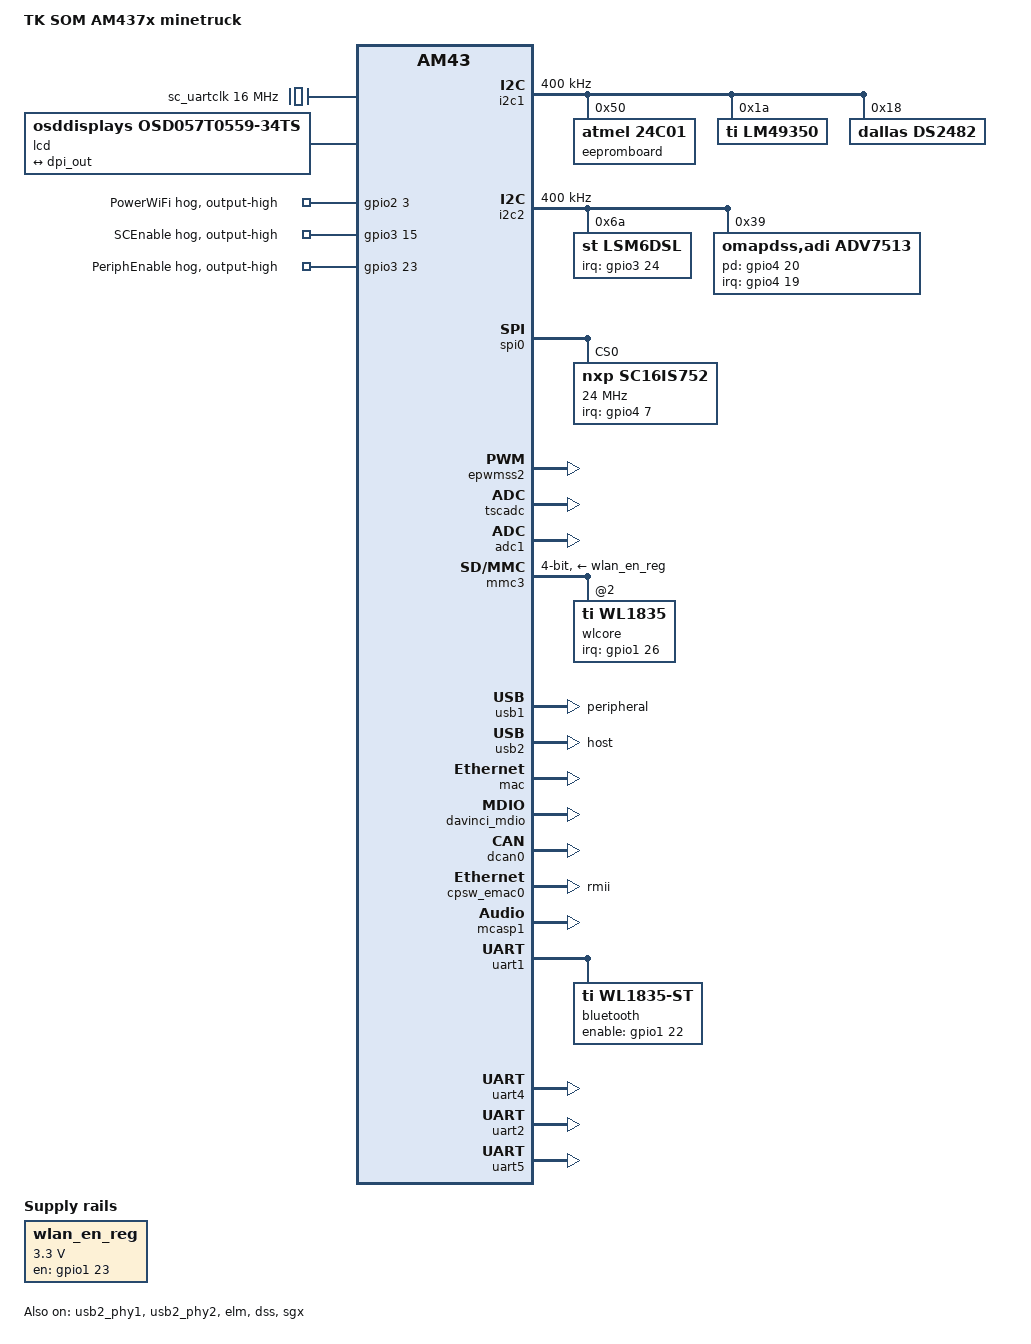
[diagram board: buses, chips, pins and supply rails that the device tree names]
/*
 * Copyright (C) 2013 Texas Instruments Incorporated - http://www.ti.com/
 *
 * This program is free software; you redistribute it and/or modify
 * it under the terms of the GNU General Public License version 2 as
 * published by the Free Software Foundation.
 */

/* AM437x GP EVM */

/dts-v1/;

#include "am4372.dtsi"
#include "tk-som-am43xx.dtsi"
#include <dt-bindings/pinctrl/am43xx.h>
#include <dt-bindings/pwm/pwm.h>
#include <dt-bindings/gpio/gpio.h>
#include <dt-bindings/input/input.h>

/ {

	model = "TK SOM AM437x minetruck";
	compatible = "technokom,minetruck","ti,am4372","ti,am43";

	aliases {
		display0 = &lcd0;
	};

	sc_uartclk: mclk_osc {
		compatible = "fixed-clock";
		#clock-cells = <0>;
		clock-frequency = <16000000>;
	};

	lcd0: display {
		compatible = "osddisplays,osd057T0559-34ts", "panel-dpi";
		label = "lcd";
		
		pinctrl-names = "default";

		panel-timing {
			clock-frequency = <51206400>;
			hactive = <1024>;
			vactive = <768>;
			hfront-porch = <24>;
			hback-porch = <24>;
			hsync-len = <136>;
			vback-porch = <3>;
			vfront-porch = <3>;
			vsync-len = <6>;
			hsync-active = <1>;
			vsync-active = <1>;
			de-active = <1>;
			pixelclk-active = <1>;
		};

		port {
			lcd_in: endpoint {
				remote-endpoint = <&dpi_out>;
			};
		};
	};

	sound0: sound@0 {
		compatible = "simple-audio-card";
		simple-audio-card,name = "AM437x-TK";
		simple-audio-card,widgets =
			"Headphone", "Headphone Jack",
			"Line", "Line In",
			"Speaker", "Speaker";
		simple-audio-card,routing =
			"Headphone Jack", "HPLOUT",
			"Headphone Jack", "HPROUT",
			"LINE1L", "Line In",
			"LINE1R", "Line In",
			"Speaker", "SPL",
			"Speaker", "SPR";
		simple-audio-card,format = "dsp_b";
		simple-audio-card,bitclock-master = <&sound0_master>;
		simple-audio-card,frame-master = <&sound0_master>;
		simple-audio-card,bitclock-inversion;

		simple-audio-card,cpu {
			sound-dai = <&mcasp1>;
			system-clock-frequency = <12000000>;
		};

		sound0_master: simple-audio-card,codec {
			sound-dai = <&lm49350>;
			system-clock-frequency = <12000000>;
		};
	};

    wlan_en_reg: fixedregulator-mmcwl {
		compatible = "regulator-fixed";
		regulator-name = "vmmcwl_fixed";
		regulator-min-microvolt = <3300000>;
		regulator-max-microvolt = <3300000>;
		startup-delay-us= <70000>;
		/* WL_EN */
		gpio = <&gpio1 23 GPIO_ACTIVE_HIGH>;
		enable-active-high;
	};
};

&am43xx_pinmux {
	pinctrl-names = "default", "sleep";
	pinctrl-0 = <&wlan_pins_default &pfo_pins_default &gpio_in_plus_pin &gpio_in_minus_pin &gpio_out_pin>;


	dcan0_default: dcan0_default_pins {
		pinctrl-single,pins = <
			AM4372_IOPAD(0x91c, PIN_OUTPUT | MUX_MODE1)		/* (C16) mii1_txd3.dcan0_tx */
			AM4372_IOPAD(0x920, PIN_INPUT_PULLUP | MUX_MODE1)	/* (C13) mii1_txd2.dcan0_rx */
		>;
	};

	dcan0_sleep: dcan0_sleep_pins {
		pinctrl-single,pins = <
			AM4372_IOPAD(0x91c, PIN_INPUT_PULLUP | MUX_MODE7)	/* (C16) mii1_txd3 */
			AM4372_IOPAD(0x920, PIN_INPUT_PULLUP | MUX_MODE7)	/* (C13) mii1_txd2 */
		>;
	};


    pfo_pins_default: pfo_pins_default {
		pinctrl-single,pins = <
            AM4372_IOPAD(0xa3c, PIN_INPUT | MUX_MODE7) /* (F24) gpio5_9.gpio5[9] pfo*/
			AM4372_IOPAD(0x89c, PIN_INPUT | MUX_MODE7) /* (C10) gpmc_be0n_cle.gpio2[5] scap_off */
		>;
	};

    rpm_pins_default: rpm_pins_default {
		pinctrl-single,pins = <
			AM4372_IOPAD(0x9d0, PIN_INPUT_PULLUP | MUX_MODE7) /* (AD24) cam1_data8.gpio4[8] */
		>;
	};

    gpio_onewire_interrupt_pin: gpio_onewire_interrupt_pin {
		pinctrl-single,pins = <    
            AM4372_IOPAD(0xA34, PIN_INPUT_PULLUP | MUX_MODE7 ) /* (K24) uart3_rtsn.gpio5[1] */
        >;
    };

    gpio_in_plus_pin: gpio_in_plus_pin {
		pinctrl-single,pins = <    
            AM4372_IOPAD(0xa74, PIN_INPUT | MUX_MODE7) /* (C24) xdma_event_intr1.gpio0[20] */
            AM4372_IOPAD(0x834, PIN_INPUT | MUX_MODE7) /* (C11) gpmc_ad13.gpio1[13] */
        >;
    };

    gpio_in_minus_pin: gpio_in_minus_pin {
		pinctrl-single,pins = <    
            AM4372_IOPAD(0x9d4, PIN_INPUT_PULLUP | MUX_MODE7) /* (AD25) cam1_hd.gpio4[9] */
			AM4372_IOPAD(0x9d8, PIN_INPUT_PULLUP | MUX_MODE7) /* (AC23) cam1_vd.gpio4[10] */
        >;
    };

    gpio_out_pin: gpio_out_pin {
		pinctrl-single,pins = <    
            AM4372_IOPAD(0x998, PIN_OUTPUT | SLEWCTRL_FAST | MUX_MODE7) /* (H23) mcasp0_axr0.gpio3[16] */
            AM4372_IOPAD(0x840, PIN_OUTPUT | SLEWCTRL_FAST | MUX_MODE7) /* (C3) gpmc_a0.gpio1[16] */
        >;
    };

	i2c1_pins_default: i2c1_pins_default {
		pinctrl-single,pins = <
			AM4372_IOPAD(0xa40, PIN_INPUT_PULLUP | SLEWCTRL_FAST | MUX_MODE1)  /* (G20) gpio5_10.I2C1_SCL */
			AM4372_IOPAD(0xa48, PIN_INPUT_PULLUP | SLEWCTRL_FAST | MUX_MODE1)  /* (E25) gpio5_12.I2C1_SDA */
		>;
	};

	i2c2_pins_default: i2c2_pins_default {
		pinctrl-single,pins = <
			AM4372_IOPAD(0x97c, PIN_INPUT_PULLUP | SLEWCTRL_FAST | MUX_MODE3)  /* (L22) uart1_rtsn.I2C2_SCL */
			AM4372_IOPAD(0x978, PIN_INPUT_PULLUP | SLEWCTRL_FAST | MUX_MODE3)  /* (K22) uart1_ctsn.I2C2_SDA */

            AM4372_IOPAD(0xa60, PIN_INPUT_PULLUP | MUX_MODE7) /* (N20) spi2_sclk.gpio3[24] interrupt lsm6d*/

            AM4372_IOPAD(0xa00, PIN_OUTPUT | MUX_MODE7) /* (AD23) cam1_data6.gpio4[20] powerdown adv7513*/
            AM4372_IOPAD(0x9fc, PIN_INPUT | MUX_MODE7) /* (AE23) cam1_data5.gpio4[19] */
		>;
	};

	mmc2_pins: pinmux_mmc2_pins {
		pinctrl-single,pins = <
			AM4372_IOPAD(0x88c, PIN_INPUT_PULLUP | MUX_MODE3 ) /* (A12) gpmc_clk.mmc2_clk */
			AM4372_IOPAD(0x888, PIN_INPUT_PULLUP | MUX_MODE3 ) /* (B12) gpmc_csn3.mmc2_cmd */
			AM4372_IOPAD(0x844, PIN_INPUT_PULLUP | MUX_MODE3 ) /* (C5) gpmc_a1.mmc2_dat0 */
			AM4372_IOPAD(0x848, PIN_INPUT_PULLUP | MUX_MODE3 ) /* (C6) gpmc_a2.mmc2_dat1 */
			AM4372_IOPAD(0x84c, PIN_INPUT_PULLUP | MUX_MODE3 ) /* (A4) gpmc_a3.mmc2_dat2 */
			AM4372_IOPAD(0x878, PIN_INPUT_PULLUP | MUX_MODE3 ) /* (A3) gpmc_be1n.mmc2_dat3 */
		>;
	};

	mmc2_sleep_pins: pinmux_mmc2_sleep_pins {
		pinctrl-single,pins = <
			AM4372_IOPAD(0x88c, PIN_INPUT_PULLDOWN | MUX_MODE7) /* (A12) gpmc_clk.mmc2_clk */
			AM4372_IOPAD(0x888, PIN_INPUT_PULLDOWN | MUX_MODE7) /* (B12) gpmc_csn3.mmc2_cmd */
			AM4372_IOPAD(0x844, PIN_INPUT_PULLDOWN | MUX_MODE7) /* (C5) gpmc_a1.mmc2_dat0 */
			AM4372_IOPAD(0x848, PIN_INPUT_PULLDOWN | MUX_MODE7) /* (C6) gpmc_a2.mmc2_dat1 */
			AM4372_IOPAD(0x84c, PIN_INPUT_PULLDOWN | MUX_MODE7) /* (A4) gpmc_a3.mmc2_dat2 */
			AM4372_IOPAD(0x878, PIN_INPUT_PULLDOWN | MUX_MODE7) /* (A3) gpmc_be1n.mmc2_dat3 */
		>;
	};


	cpsw_default: cpsw_default {
		pinctrl-single,pins = <
			AM4372_IOPAD(0x90c, PIN_INPUT_PULLUP | MUX_MODE1 ) /* (B14) mii1_crs.rmii1_crs_dv */
			AM4372_IOPAD(0x910, PIN_INPUT_PULLUP | MUX_MODE1 ) /* (B13) mii1_rx_er.rmii1_rxer */
			AM4372_IOPAD(0x914, PIN_OUTPUT_PULLDOWN | MUX_MODE1 ) /* (A13) mii1_tx_en.rmii1_txen */
			AM4372_IOPAD(0x928, PIN_OUTPUT_PULLDOWN | MUX_MODE1 ) /* (B15) mii1_txd0.rmii1_txd0 */
			AM4372_IOPAD(0x924, PIN_OUTPUT_PULLDOWN | MUX_MODE1 ) /* (A14) mii1_txd1.rmii1_txd1 */
			AM4372_IOPAD(0x940, PIN_INPUT | MUX_MODE1 ) /* (F17) mii1_rxd0.rmii1_rxd0 */
			AM4372_IOPAD(0x93c, PIN_INPUT | MUX_MODE1 ) /* (B16) mii1_rxd1.rmii1_rxd1 */
			AM4372_IOPAD(0x944, PIN_INPUT_PULLUP | MUX_MODE0 ) /* (A16) rmii1_ref_clk.rmii1_refclk */

		>;
	};

	cpsw_sleep: cpsw_sleep {
		pinctrl-single,pins = <
			AM4372_IOPAD(0x90c, PIN_INPUT_PULLDOWN | MUX_MODE7 )
			AM4372_IOPAD(0x910, PIN_INPUT_PULLDOWN | MUX_MODE7 )
			AM4372_IOPAD(0x914, PIN_INPUT_PULLDOWN | MUX_MODE7 )
			AM4372_IOPAD(0x928, PIN_INPUT_PULLDOWN | MUX_MODE7 )
			AM4372_IOPAD(0x924, PIN_INPUT_PULLDOWN | MUX_MODE7 )
			AM4372_IOPAD(0x940, PIN_INPUT_PULLDOWN | MUX_MODE7 )
			AM4372_IOPAD(0x93c, PIN_INPUT_PULLDOWN | MUX_MODE7 )
			AM4372_IOPAD(0x944, PIN_INPUT_PULLDOWN | MUX_MODE7 )
		>;
	};

	davinci_mdio_default: davinci_mdio_default {
		pinctrl-single,pins = <
			/* MDIO */
			AM4372_IOPAD(0x948, PIN_INPUT_PULLUP | SLEWCTRL_FAST | MUX_MODE0)	/* mdio_data.mdio_data */
			AM4372_IOPAD(0x94c, PIN_OUTPUT_PULLUP | MUX_MODE0)			/* mdio_clk.mdio_clk */
		>;
	};

	davinci_mdio_sleep: davinci_mdio_sleep {
		pinctrl-single,pins = <
			/* MDIO reset value */
			AM4372_IOPAD(0x948, PIN_INPUT | PULL_DISABLE | MUX_MODE7)
			AM4372_IOPAD(0x94c, PIN_INPUT | PULL_DISABLE | MUX_MODE7)
		>;
	};

    periph_pin_reset: periph_reset {
		pinctrl-single,pins = <
			AM4372_IOPAD(0x994, PIN_OUTPUT | MUX_MODE7) /* (N22) mcasp0_fsx.gpio3[15] */
		>;
	};


	dss_pins: dss_pins {
		pinctrl-single,pins = <
			AM4372_IOPAD(0x8a0, PIN_OUTPUT_PULLUP | MUX_MODE7)
			AM4372_IOPAD(0x8a4, PIN_OUTPUT_PULLUP | MUX_MODE0)
			AM4372_IOPAD(0x8a8, PIN_OUTPUT_PULLUP | MUX_MODE0)
			AM4372_IOPAD(0x8ac, PIN_OUTPUT_PULLUP | MUX_MODE0)
			AM4372_IOPAD(0x8b0, PIN_OUTPUT_PULLUP | MUX_MODE0)
			AM4372_IOPAD(0x8b4, PIN_OUTPUT_PULLUP | MUX_MODE0)
			AM4372_IOPAD(0x8b8, PIN_OUTPUT_PULLUP | MUX_MODE0)
			AM4372_IOPAD(0x8bc, PIN_OUTPUT_PULLUP | MUX_MODE0)
			AM4372_IOPAD(0x8c0, PIN_OUTPUT_PULLUP | MUX_MODE0)
			AM4372_IOPAD(0x8c4, PIN_OUTPUT_PULLUP | MUX_MODE0)
			AM4372_IOPAD(0x8c8, PIN_OUTPUT_PULLUP | MUX_MODE0)
			AM4372_IOPAD(0x8cc, PIN_OUTPUT_PULLUP | MUX_MODE0)
			AM4372_IOPAD(0x8d0, PIN_OUTPUT_PULLUP | MUX_MODE0)
			AM4372_IOPAD(0x8d4, PIN_OUTPUT_PULLUP | MUX_MODE0)
			AM4372_IOPAD(0x8d8, PIN_OUTPUT_PULLUP | MUX_MODE0)
			AM4372_IOPAD(0x8dc, PIN_OUTPUT_PULLUP | MUX_MODE0)
			AM4372_IOPAD(0x8e8, PIN_OUTPUT_PULLUP | MUX_MODE0)
			AM4372_IOPAD(0x8ec, PIN_OUTPUT_PULLUP | MUX_MODE0)
			AM4372_IOPAD(0x83c, PIN_OUTPUT_PULLUP | MUX_MODE1)
			AM4372_IOPAD(0x838, PIN_OUTPUT_PULLUP | MUX_MODE1)
            AM4372_IOPAD(0x8e0, PIN_OUTPUT_PULLUP | MUX_MODE0) /* (B23) dss_vsync.dss_vsync */
			AM4372_IOPAD(0x8e4, PIN_OUTPUT_PULLUP | MUX_MODE0) /* (A23) dss_hsync.dss_hsync */

		>;
	};

	uart1_pins: uart1_pins {
		pinctrl-single,pins = <
            AM4372_IOPAD(0x9e8, PIN_INPUT | MUX_MODE1) /* (AB20) cam1_data0.uart1_rxd */
			AM4372_IOPAD(0x9ec, PIN_OUTPUT | MUX_MODE1) /* (AC21) cam1_data1.uart1_txd */
			AM4372_IOPAD(0x9f0, PIN_INPUT | MUX_MODE1) /* (AD21) cam1_data2.uart1_ctsn */
			AM4372_IOPAD(0x9f4, PIN_OUTPUT | MUX_MODE1) /* (AE22) cam1_data3.uart1_rtsn */

            AM4372_IOPAD(0x858, PIN_OUTPUT | MUX_MODE7) /* (E8) gpmc_a6.gpio1[22] bt enable*/
		>;
	};

    uart2_pins: uart2_pins {
        pinctrl-single,pins = <
		    AM4372_IOPAD(0x92c, PIN_INPUT_PULLUP | MUX_MODE1 ) /* (D14) mii1_tx_clk.uart2_rxd */
    		AM4372_IOPAD(0x930, PIN_OUTPUT_PULLDOWN | MUX_MODE1 ) /* (D13) mii1_rx_clk.uart2_txd */
    		AM4372_IOPAD(0x860,  PIN_OUTPUT_PULLDOWN | MUX_MODE7 ) /* (F7) gpmc_a8.gpio1[24] */
	    >;
    };

    uart3_pins: uart3_pins {
        pinctrl-single,pins = <
            AM4372_IOPAD(0x934, PIN_INPUT_PULLUP | MUX_MODE1 ) /* (C14) mii1_rxd3.uart3_rxd */
    		AM4372_IOPAD(0x938, PIN_OUTPUT_PULLDOWN | MUX_MODE1 ) /* (E16) mii1_rxd2.uart3_txd */
            AM4372_IOPAD(0x9b8,  PIN_OUTPUT_PULLDOWN | MUX_MODE7 ) /* (AC18) cam0_field.gpio4[2] */
	    >;
    };

    uart4_pins: uart4_pins {
        pinctrl-single,pins = <
            AM4372_IOPAD(0x968, PIN_INPUT_PULLUP | MUX_MODE1) /* (L25) uart0_ctsn.uart4_rxd */
			AM4372_IOPAD(0x96c, PIN_OUTPUT_PULLDOWN | MUX_MODE1) /* (J25) uart0_rtsn.uart4_txd */
             AM4372_IOPAD(0x830, PIN_OUTPUT_PULLDOWN | MUX_MODE7)  /* (E11) gpmc_ad12.gpio1[12] */
	    >;
    };

    uart5_pins: uart5_pins {
        pinctrl-single,pins = <
    		AM4372_IOPAD(0x908, PIN_INPUT_PULLUP | MUX_MODE3 ) /* (D16) mii1_col.uart5_rxd */
    		AM4372_IOPAD(0x918, PIN_OUTPUT_PULLDOWN | MUX_MODE3 ) /* (A15) mii1_rx_dv.uart5_txd */
            AM4372_IOPAD(0x86c,  PIN_OUTPUT_PULLDOWN | MUX_MODE7 ) /* (D8) gpmc_a11.gpio1[27] */
	    >;
    };


	periph_pin_enable: periph_pin_enable {
		pinctrl-single,pins = <
	        AM4372_IOPAD(0xA68, PIN_OUTPUT | MUX_MODE7 )  /* (P20) spi2_d1.gpio3[23] */
		>;
	};

	wlan_pins_default: pinmux_wlan_pins_default {
		pinctrl-single,pins = <
			AM4372_IOPAD(0x868, PIN_INPUT_PULLDOWN  | WAKEUP_ENABLE | MUX_MODE7 ) /* (G8) gpmc_a10.gpio1[26] */
			AM4372_IOPAD(0x85c, PIN_OUTPUT | MUX_MODE7 ) /* (F6) gpmc_a7.gpio1[23] */

            AM4372_IOPAD(0x894, PIN_OUTPUT | MUX_MODE7) /* (E10) gpmc_oen_ren.gpio2[3] power wifi global enable*/
		>;
	};	

	mcasp1_pins: mcasp1_pins {
		pinctrl-single,pins = <
			AM4372_IOPAD(0x9ac, PIN_INPUT_PULLDOWN | MUX_MODE3)
			AM4372_IOPAD(0x9a0, PIN_INPUT_PULLDOWN | MUX_MODE3)
			AM4372_IOPAD(0x9a4, PIN_INPUT_PULLDOWN | MUX_MODE3)
			AM4372_IOPAD(0x9a8, PIN_OUTPUT_PULLDOWN | MUX_MODE3)

		>;
	};

	mcasp1_sleep_pins: mcasp1_sleep_pins {
		pinctrl-single,pins = <
			AM4372_IOPAD(0x9ac, PIN_INPUT_PULLDOWN | MUX_MODE7)
			AM4372_IOPAD(0x9a0, PIN_INPUT_PULLDOWN | MUX_MODE7)
			AM4372_IOPAD(0x9a4, PIN_INPUT_PULLDOWN | MUX_MODE7)
			AM4372_IOPAD(0x9a8, PIN_INPUT_PULLDOWN | MUX_MODE7)
		>;
	};

	spi0_pins: pinmux_spi0_pins {
		pinctrl-single,pins = <
			AM4372_IOPAD(0x950, PIN_INPUT_PULLUP | MUX_MODE0)           /* spi0_clk.spi0_clk */
			AM4372_IOPAD(0x954, PIN_INPUT_PULLUP | MUX_MODE0)           /* spi0_d0.spi0_d0 */
			AM4372_IOPAD(0x958, PIN_INPUT_PULLUP | MUX_MODE0)           /* spi0_d1.spi0_d1 */
			AM4372_IOPAD(0x95c, PIN_INPUT_PULLUP | MUX_MODE0)          /* spi0_cs0.spi0_cs0 */
			AM4372_IOPAD(0x9cc, PIN_INPUT_PULLUP | MUX_MODE7)
		>;
	};

};

&i2c1 {
	status = "okay";
	pinctrl-names = "default", "sleep";
	pinctrl-0 = <&i2c1_pins_default &gpio_onewire_interrupt_pin>;
	clock-frequency = <400000>;

    eepromboard: eepromboard@50 {
        compatible = "atmel,24c01";
        reg = <0x50>;
        pagesize = <8>;
    };

	lm49350: lm49350@1a {
		#sound-dai-cells = <0>;
		compatible = "ti,lm49350";
		reg = <0x1a>;
		status = "okay";
		/*
        power-amp-gpios = <&gpio5 3 GPIO_ACTIVE_HIGH>;
		sd-amp-gpios    = <&gpio5 13 GPIO_ACTIVE_HIGH>;
        */
	};

    ds2482: ds2482@18 {
        compatible = "dallas,ds2482";
        reg = <0x18>;
		status = "okay";
    };
};

&i2c2 {
	status = "okay";
	pinctrl-names = "default", "sleep";
	pinctrl-0 = <&i2c2_pins_default>;
	clock-frequency = <400000>;

    lsm6dsl@6a {
    	compatible = "st,lsm6dsl";
	    reg = <0x6a>;
    	interrupt-parent = <&gpio3>;
    	interrupts = <24 IRQ_TYPE_EDGE_RISING>;
    };


    adv7513: adv7513@39 {
		compatible = "omapdss,adi,adv7513";
		reg = <0x39>;

		interrupt-parent = <&gpio4>;
		interrupts = <19 IRQ_TYPE_EDGE_FALLING>;

        pd-gpio = <&gpio4 20 GPIO_ACTIVE_HIGH>;

		adi,input-depth = <8>;
		adi,input-colorspace = "rgb";
		adi,input-clock = "1x";
		adi,input-style = <2>;
		adi,input-justification = "left";
	};

};

&spi0 {
	pinctrl-names = "default";
	pinctrl-0 = <&spi0_pins>;
	status = "okay";
	ti,spi-num-cs = <1>;
	ti,pindir-d0-out-d1-in;

	dmas = <&edma 16 0
		&edma 17 0>;
	dma-names = "tx0", "rx0";
	
	sc16is752: sc16is752@0 {
		compatible = "nxp,sc16is752";
		reg = <0>;
		spi-max-frequency = <24000000>;
		clocks = <&sc_uartclk>;
		interrupt-parent = <&gpio4>;
		interrupts = <7 IRQ_TYPE_EDGE_FALLING>;
		gpio-controller;
		#gpio-cells = <2>;
	};
};

&epwmss2	 {
	status = "okay";
};

&tscadc {
	status = "okay";

	adc {
		ti,adc-channels = <0 1 2 3 4 5 6 7>;
	};
};

&adc1 {
	status = "okay";
	ti,adc-channels = <0 1 2 3 4 5 6 7>;
};


&gpio0 {
	status = "okay";
};

&gpio1 {
	status = "okay";

};

&gpio2 {
	status = "okay";
    p3 {
		gpio-hog;
		gpios = <3 GPIO_ACTIVE_HIGH>;
		output-high;
		line-name = "PowerWiFi";
	};
};

&gpio3 {
	status = "okay";
	pinctrl-0 = <&periph_pin_enable &periph_pin_reset>;
    ti,gpio-always-on;
    ti,no-reset-on-init;

	p15 {
		gpio-hog;
		gpios = <15 GPIO_ACTIVE_HIGH>;
		output-high;
		line-name = "SCEnable";
	};

	p23 {
		gpio-hog;
		gpios = <23 GPIO_ACTIVE_HIGH>;
		output-high;
		line-name = "PeriphEnable";
	};

};

&gpio4 {
	status = "okay";
};

&gpio5 {
	status = "okay";
};

&mmc3 {
	status = "okay";
	dmas = <&edma_xbar 30 0 1>,
		<&edma_xbar 31 0 2>;
	dma-names = "tx", "rx";
	vmmc-supply = <&wlan_en_reg>;

	bus-width = <4>;
	pinctrl-names = "default";
	pinctrl-0 = <&mmc2_pins>;
    pinctrl-1 = <&mmc2_sleep_pins>;

    ti,non-removable;
	cap-power-off-card;
	keep-power-in-suspend;

	#address-cells = <1>;
	#size-cells = <0>;

	wlcore: wlcore@0 {
		compatible = "ti,wl1835";
		reg = <2>;
		interrupt-parent = <&gpio1>;
		interrupts = <26 IRQ_TYPE_LEVEL_HIGH>;
	};
};

&usb2_phy1 {
	status = "okay";
};

&usb1 {
	dr_mode = "peripheral";
	status = "okay";
};

&usb2_phy2 {
	status = "okay";
};

&usb2 {
	dr_mode = "host";
	status = "okay";
};

&mac {
	slaves = <1>;
	pinctrl-names = "default", "sleep";
	pinctrl-0 = <&cpsw_default>;
	pinctrl-1 = <&cpsw_sleep>;
	status = "okay";
};

&davinci_mdio {
	pinctrl-names = "default", "sleep";
	pinctrl-0 = <&davinci_mdio_default>;
	pinctrl-1 = <&davinci_mdio_sleep>;
	status = "okay";
};

&dcan0 {
	pinctrl-names = "default", "sleep";
	pinctrl-0 = <&dcan0_default>;
	pinctrl-1 = <&dcan0_sleep>;
	status = "okay";
};

&cpsw_emac0 {
	phy_id = <&davinci_mdio>, <7>;
	phy-mode = "rmii";
};

&phy_sel {
	rmii-clock-ext;
};

&elm {
	status = "okay";
};

&mcasp1 {
	#sound-dai-cells = <0>;
	pinctrl-names = "default", "sleep";
	pinctrl-0 = <&mcasp1_pins>;
	pinctrl-1 = <&mcasp1_sleep_pins>;

	status = "okay";

	op-mode = <0>; /* MCASP_IIS_MODE */
	tdm-slots = <2>;
	/* 4 serializers */
	serial-dir = <  /* 0: INACTIVE, 1: TX, 2: RX */
		1 2 0 0
	>;
	tx-num-evt = <32>;
	rx-num-evt = <32>;
};

&uart1 {
	status = "okay";
	pinctrl-names = "default";
	pinctrl-0 = <&uart1_pins>;

    bluetooth {
		compatible = "ti,wl1835-st";
		enable-gpios = <&gpio1 22 GPIO_ACTIVE_HIGH>;
	};
};

&uart4 {
    compatible = "ti,omap2-uart-legacy";
	status = "okay";
	pinctrl-names = "default";
	pinctrl-0 = <&uart4_pins>;
    rts-gpio = <&gpio4 2 GPIO_ACTIVE_HIGH>;
    rs485-rts-active-high;
    rs485-rts-delay = <0 0>;
    linux,rs485-enabled-at-boot-time;
};

&uart2 {
    compatible = "ti,omap2-uart-legacy";
	status = "okay";
	pinctrl-names = "default";
	pinctrl-0 = <&uart2_pins>;
    rts-gpio = <&gpio1 24 GPIO_ACTIVE_HIGH>;
    rs485-rts-active-high;
    rs485-rts-delay = <0 0>;
    linux,rs485-enabled-at-boot-time;
};


&uart5 {
    compatible = "ti,omap2-uart-legacy";
	status = "okay";
	pinctrl-names = "default";
	pinctrl-0 = <&uart5_pins>;
    rts-gpio = <&gpio1 27 GPIO_ACTIVE_HIGH>;
    rs485-rts-active-high;
    rs485-rts-delay = <0 0>;
    linux,rs485-enabled-at-boot-time;
};

&dss {
	status = "okay";

	pinctrl-names = "default";
	pinctrl-0 = <&dss_pins>;

	port {
		dpi_out: endpoint@0 {
			remote-endpoint = <&lcd_in>;
			data-lines = <18>;
		};
	};
};


&rtc {
	status = "disabled";
};

&sgx {
	status = "okay";
};
